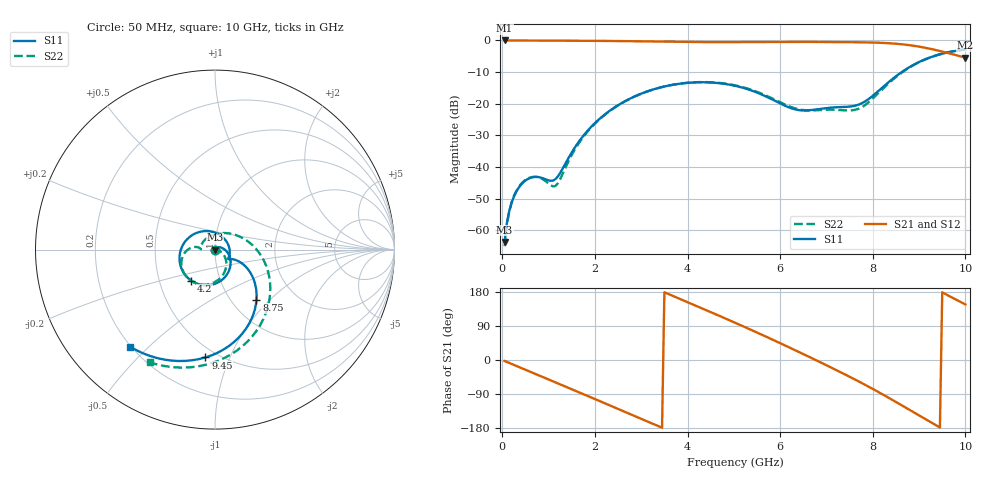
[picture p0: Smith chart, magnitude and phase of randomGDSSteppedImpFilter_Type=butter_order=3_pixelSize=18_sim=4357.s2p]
! freq	dB(S11)	phase(S11)	dB(S12)	phase(S12)
!  dB(S21)	phase(S21)	dB(S22)	phase(S22)
!S-par simulation data
#  GHz  S  DB  R 50
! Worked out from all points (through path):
!   200 points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, 50 MHz to 10 GHz, reference 50 ohm
!   highest |S21| = -0.01 dB at 50 MHz (marker M1); lowest = -5.4 dB at 10 GHz (marker M2)
!   group delay of S21, straight-line fit = 157 ps
!   lowest |S11| = -63.8 dB at 50 MHz (marker M3), VSWR 1.00, Z = 50 - j0.0646 ohm
!   |S11| at or under -10 dB: start of sweep to 8.626 GHz
!   |S22| runs from -65.1 to -2.8 dB; largest |S21 - S12| = 0
!   S11 on the Smith chart (normalised r, x): 50 MHz: 1.00, -0.00; 4.2 GHz: 0.73, -0.26; 8.75 GHz: 1.30, -0.83; 9.45 GHz: 0.43, -0.82; 10 GHz: 0.20, -0.44
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0.05  -63.75 -84.2  -0.01 -2.6  -0.01 -2.6  -65.05 -76.6
0.15  -53.97 -93.7  -0.02 -7.8  -0.02 -7.8  -54.09 -84.6
0.35  -46.66 -110.5  -0.03 -18.0  -0.03 -18.0  -46.43 -96.5
0.7  -43.16 -144.9  -0.04 -36.0  -0.04 -36.0  -43.11 -107.2
1.15  -43.82 122.4  -0.07 -59.1  -0.07 -59.1  -45.99 -62.5
1.75  -30.13 23.7  -0.11 -90.1  -0.11 -90.1  -30.49 -19.3
2.45  -20.94 -25.4  -0.18 -126.5  -0.18 -126.5  -21.01 -45.8
2.95  -17.12 -55.4  -0.27 -152.6  -0.27 -152.6  -17.14 -68.6
3.4  -14.92 -81.5  -0.37 -176.1  -0.37 -176.1  -14.91 -89.6
4.2  -13.24 -127.5  -0.51 142.2  -0.51 142.2  -13.19 -126.5
5.05  -14.41 -180.0  -0.51 97.1  -0.51 97.1  -14.27 -163.3
5.8  -18.47 120.4  -0.45 55.8  -0.45 55.8  -18.13 173.8
6.25  -21.50 67.4  -0.44 30.1  -0.44 30.1  -21.13 173.6
6.7  -21.96 8.8  -0.47 3.9  -0.47 3.9  -22.12 178.7
7.15  -21.18 -27.5  -0.51 -22.8  -0.51 -22.8  -21.91 162.7
7.65  -20.50 -33.8  -0.57 -53.6  -0.57 -53.6  -21.82 104.4
8  -17.51 -26.6  -0.66 -76.3  -0.66 -76.3  -18.36 48.1
8.35  -13.09 -31.6  -0.88 -100.2  -0.88 -100.2  -13.45 6.0
8.75  -8.82 -50.4  -1.41 -128.6  -1.41 -128.6  -8.95 -30.9
9.1  -6.16 -72.0  -2.22 -153.6  -2.22 -153.6  -6.20 -59.0
9.45  -4.39 -95.1  -3.34 -177.9  -3.34 -177.9  -4.37 -84.6
10  -2.87 -131.2  -5.45 146.7  -5.45 146.7  -2.78 -120.2
